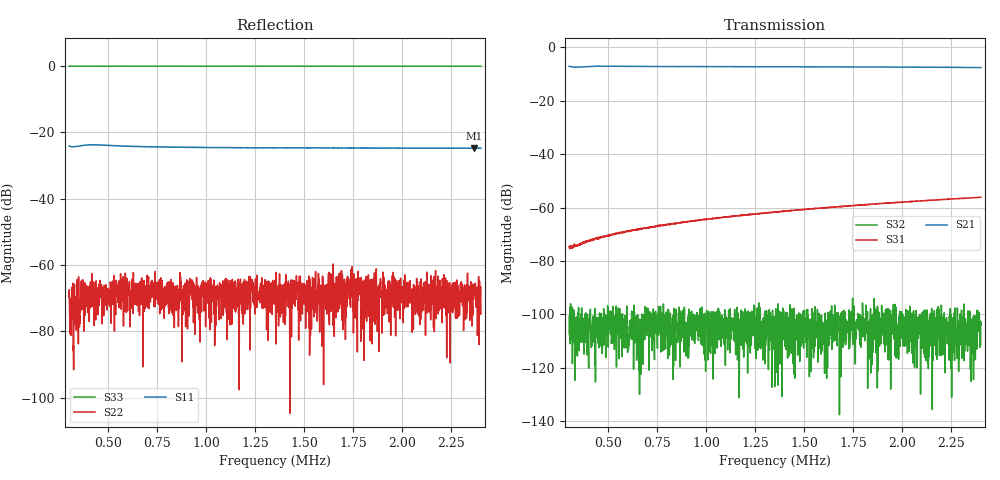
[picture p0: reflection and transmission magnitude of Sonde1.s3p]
#  HZ  S  DB  R  50.00
! Rohde & Schwarz Vector Network Analyzer
! Rohde-Schwarz,ZNB8-4Port,1311601044102961,2.82
! Created: UTC 10/29/2018, 2:14:47 PM
! freq[Hz]  db:S11  ang:S11  db:S12  ang:S12  db:S13  ang:S13
!  db:S21  ang:S21  db:S22  ang:S22  db:S23  ang:S23
!  db:S31  ang:S31  db:S32  ang:S32  db:S33  ang:S33
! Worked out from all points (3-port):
!   2001 points, 300 kHz to 2.4 MHz, reference 50 ohm
!   strongest paths, dB at 300 kHz, 825 kHz, 1.35 MHz, 1.875 MHz, 2.4 MHz:
!     S21: -7.1, -7.2, -7.3, -7.3, -7.6
!     S31: -74.6, -66.1, -61.7, -58.5, -56.1
!     S32: -100.9, -104.7, -102.4, -121.1, -104.1
!   lowest |S11| = -24.8 dB at 2.364 MHz (marker M1), VSWR 1.12, Z = 44.6 + j0.224 ohm
!   |S11| at or under -10 dB: start of sweep to end of sweep
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300000  -24.12 -138.2  -102.07 -39.7  -104.45 -2.8
        -7.08 -111.2  -69.66 -22.6  -110.75 -15.1
        -74.65 -24.6  -100.88 -134.3  -0.00 -1.7
565650  -24.06 -154.8  -99.47 161.3  -103.54 -99.4
        -7.08 -149.6  -73.32 -0.9  -133.66 135.0
        -69.20 -59.6  -107.69 138.5  0.00 -3.2
883800  -24.47 -165.8  -110.85 16.9  -101.69 -54.2
        -7.19 -170.9  -66.25 -38.2  -102.66 -72.3
        -65.53 -83.1  -102.85 -59.8  0.00 -5.0
983550  -24.57 -168.1  -100.54 64.4  -100.32 -108.9
        -7.20 -175.7  -64.70 -10.4  -103.71 98.1
        -64.55 -88.3  -101.78 84.3  0.00 -5.5
1043400  -24.56 -169.2  -103.66 34.1  -111.99 -94.8
         -7.20 -178.3  -80.98 -25.5  -107.07 -42.8
         -64.13 -90.7  -114.67 -26.1  -0.00 -5.8
1350000  -24.65 -173.6  -105.98 -119.4  -108.12 -171.7
         -7.26 170.4  -70.76 -38.9  -106.36 121.4
         -61.72 -103.2  -102.36 -79.6  0.00 -7.6
1526400  -24.69 -175.8  -108.21 139.0  -108.41 -172.2
         -7.29 164.7  -87.19 100.7  -108.87 -93.4
         -60.54 -107.9  -108.97 -106.4  -0.00 -8.6
1732200  -24.63 -177.9  -109.24 39.4  -102.58 4.6
         -7.33 158.6  -71.77 -18.5  -108.76 56.8
         -59.37 -115.5  -104.09 144.7  -0.00 -9.7
2364300  -24.79 177.5  -107.70 31.3  -113.72 52.2
         -7.55 141.3  -66.00 -103.6  -107.47 86.3
         -56.31 -133.3  -101.73 -148.1  -0.00 -13.3
2400000  -24.75 177.3  -102.30 -96.8  -111.13 5.0
         -7.56 140.5  -66.60 -102.6  -112.01 62.5
         -56.12 -134.8  -104.09 -110.2  -0.00 -13.5
